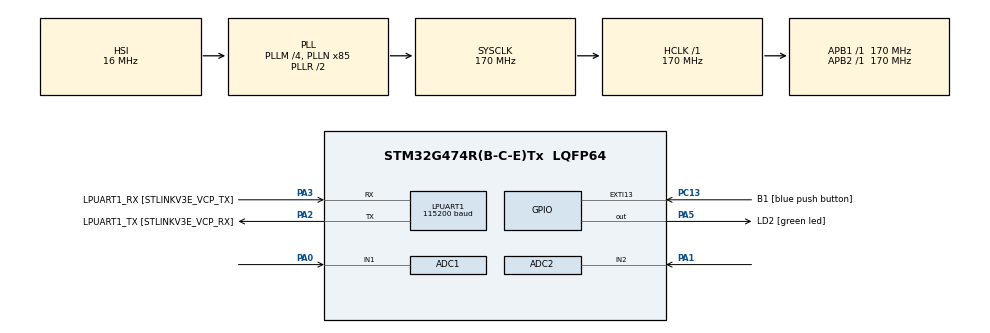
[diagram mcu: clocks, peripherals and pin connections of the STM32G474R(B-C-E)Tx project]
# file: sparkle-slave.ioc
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ADC1.Channel-0\#ChannelRegularConversion=ADC_CHANNEL_1
ADC1.ContinuousConvMode=ENABLE
ADC1.DMAContinuousRequests=ENABLE
ADC1.NbrOfConversion=1
ADC1.NbrOfConversionFlag=1
ADC1.OffsetNumber-0\#ChannelRegularConversion=ADC_OFFSET_NONE
ADC1.Rank-0\#ChannelRegularConversion=1
ADC1.SamplingTime-0\#ChannelRegularConversion=ADC_SAMPLETIME_2CYCLES_5
ADC1.master=1
ADC2.Channel-0\#ChannelRegularConversion=ADC_CHANNEL_2
ADC2.ContinuousConvMode=ENABLE
ADC2.DMAContinuousRequests=ENABLE
ADC2.NbrOfConversionFlag=1
ADC2.OffsetNumber-0\#ChannelRegularConversion=ADC_OFFSET_NONE
ADC2.Rank-0\#ChannelRegularConversion=1
ADC2.SamplingTime-0\#ChannelRegularConversion=ADC_SAMPLETIME_2CYCLES_5
Dma.ADC1.0.Direction=DMA_PERIPH_TO_MEMORY
Dma.ADC1.0.EventEnable=DISABLE
Dma.ADC1.0.Instance=DMA1_Channel1
Dma.ADC1.0.MemDataAlignment=DMA_MDATAALIGN_HALFWORD
Dma.ADC1.0.MemInc=DMA_MINC_ENABLE
Dma.ADC1.0.Mode=DMA_CIRCULAR
Dma.ADC1.0.PeriphDataAlignment=DMA_PDATAALIGN_HALFWORD
Dma.ADC1.0.PeriphInc=DMA_PINC_DISABLE
Dma.ADC1.0.Polarity=HAL_DMAMUX_REQ_GEN_RISING
Dma.ADC1.0.Priority=DMA_PRIORITY_LOW
Dma.ADC1.0.RequestNumber=1
Dma.ADC1.0.SignalID=NONE
Dma.ADC1.0.SyncEnable=DISABLE
Dma.ADC1.0.SyncPolarity=HAL_DMAMUX_SYNC_NO_EVENT
Dma.ADC1.0.SyncRequestNumber=1
Dma.ADC1.0.SyncSignalID=NONE
Dma.ADC2.1.Direction=DMA_PERIPH_TO_MEMORY
Dma.ADC2.1.EventEnable=DISABLE
Dma.ADC2.1.Instance=DMA1_Channel2
Dma.ADC2.1.MemDataAlignment=DMA_MDATAALIGN_HALFWORD
Dma.ADC2.1.MemInc=DMA_MINC_ENABLE
Dma.ADC2.1.Mode=DMA_CIRCULAR
Dma.ADC2.1.PeriphDataAlignment=DMA_PDATAALIGN_HALFWORD
Dma.ADC2.1.PeriphInc=DMA_PINC_DISABLE
Dma.ADC2.1.Polarity=HAL_DMAMUX_REQ_GEN_RISING
Dma.ADC2.1.Priority=DMA_PRIORITY_LOW
Dma.ADC2.1.RequestNumber=1
Dma.ADC2.1.SignalID=NONE
Dma.ADC2.1.SyncEnable=DISABLE
Dma.ADC2.1.SyncPolarity=HAL_DMAMUX_SYNC_NO_EVENT
Dma.ADC2.1.SyncRequestNumber=1
Dma.ADC2.1.SyncSignalID=NONE
Dma.Request0=ADC1
Dma.Request1=ADC2
LPUART1.BaudRate=115200
LPUART1.WordLength=UART_WORDLENGTH_8B
Mcu.Family=STM32G4
Mcu.Name=STM32G474R(B-C-E)Tx
Mcu.Package=LQFP64
NVIC.DMA1_Channel1_IRQn=true\:0\:0\:false\:false\:true\:false\:true\:true
NVIC.DMA1_Channel2_IRQn=true\:0\:0\:false\:false\:true\:false\:true\:true
NVIC.EXTI15_10_IRQn=true\:0\:0\:false\:false\:true\:true\:true\:true
NVIC.PriorityGroup=NVIC_PRIORITYGROUP_4
PA0.Mode=IN1-Single-Ended
PA0.Signal=ADC1_IN1
PA1.Mode=IN2-Single-Ended
PA1.Signal=ADC2_IN2
PA13.GPIO_Label=T_SWDIO
PA13.Mode=Serial_Wire
PA13.Signal=SYS_JTMS-SWDIO
PA14.GPIO_Label=T_SWCLK
PA14.Mode=Serial_Wire
PA14.Signal=SYS_JTCK-SWCLK
PA2.GPIO_Label=LPUART1_TX [STLINKV3E_VCP_RX]
PA2.Mode=Asynchronous
PA2.Signal=LPUART1_TX
PA3.GPIO_Label=LPUART1_RX [STLINKV3E_VCP_TX]
PA3.Mode=Asynchronous
PA3.Signal=LPUART1_RX
PA5.GPIO_Label=LD2 [green led]
PA5.Signal=GPIO_Output
PB3.GPIO_Label=T_SWO
PB3.Signal=SYS_JTDO-SWO
PC13.GPIO_Label=B1 [blue push button]
PC13.Signal=GPXTI13
PC14-OSC32_IN.Mode=LSE-External-Oscillator
PC14-OSC32_IN.Signal=RCC_OSC32_IN
PC15-OSC32_OUT.Mode=LSE-External-Oscillator
PC15-OSC32_OUT.Signal=RCC_OSC32_OUT
PF0-OSC_IN.Mode=HSE-External-Oscillator
PF0-OSC_IN.Signal=RCC_OSC_IN
PF1-OSC_OUT.Mode=HSE-External-Oscillator
PF1-OSC_OUT.Signal=RCC_OSC_OUT
ProjectManager.HeapSize=0x200
ProjectManager.StackSize=0x400
ProjectManager.TargetToolchain=Makefile
RCC.ADC12Freq_Value=170000000
RCC.ADC345Freq_Value=170000000
RCC.AHBFreq_Value=170000000
RCC.APB1Freq_Value=170000000
RCC.APB1TimFreq_Value=170000000
RCC.APB2Freq_Value=170000000
RCC.APB2TimFreq_Value=170000000
RCC.CortexFreq_Value=170000000
RCC.EXTERNAL_CLOCK_VALUE=12288000
RCC.HCLKFreq_Value=170000000
RCC.HSE_VALUE=24000000
RCC.HSI48_VALUE=48000000
RCC.HSI_VALUE=16000000
RCC.PLLM=RCC_PLLM_DIV4
RCC.PLLN=85
RCC.RTCClockSelection=RCC_RTCCLKSOURCE_LSE
RCC.SYSCLKFreq_VALUE=170000000
RCC.SYSCLKSource=RCC_SYSCLKSOURCE_PLLCLK
RCC.USBFreq_Value=170000000
RCC.VCOOutputFreq_Value=340000000
VP_SYS_VS_DBSignals.Mode=DisableDeadBatterySignals
board=NUCLEO-G474RE

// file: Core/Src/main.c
/* USER CODE BEGIN Header */
/**
 ******************************************************************************
 * @file           : main.c
 * @brief          : Main program body
 ******************************************************************************
 * @attention
 *
 * Copyright (c) 2024 STMicroelectronics.
 * All rights reserved.
 *
 * This software is licensed under terms that can be found in the LICENSE file
 * in the root directory of this software component.
 * If no LICENSE file comes with this software, it is provided AS-IS.
 *
 ******************************************************************************
 */
/* USER CODE END Header */
#include "main.h"
#include "adc.h"
#include "dma.h"
#include "gpio.h"
#include "usart.h"

/* USER CODE BEGIN Includes */
#include <stdio.h>
#include <string.h>

#include "config.h"
#include "plotter.h"
#include "stdbool.h"
/* USER CODE END Includes */

void SystemClock_Config(void);
/* USER CODE BEGIN PFP */

bool adc1_complete = false;
bool adc2_complete = false;
void HAL_ADC_ConvCpltCallback(ADC_HandleTypeDef *hadc) {
    if (hadc == &hadc1) {
        adc1_complete = true;
    } else if (hadc == &hadc2) {
        adc2_complete = true;
    }
}
/* USER CODE END PFP */

int main(void) {

    /* MCU
     * Configuration--------------------------------------------------------*/

    /* Reset of all peripherals, Initializes the Flash interface and the
     * Systick. */
    HAL_Init();

    /* Configure the system clock */
    SystemClock_Config();

    /* USER CODE BEGIN SysInit */
    CoreDebug->DEMCR |= CoreDebug_DEMCR_TRCENA_Msk;
    DWT->CYCCNT = 0;
    DWT->CTRL |= DWT_CTRL_CYCCNTENA_Msk;
    /* USER CODE END SysInit */

    /* Initialize all configured peripherals */
    MX_GPIO_Init();
    MX_DMA_Init();
    MX_ADC1_Init();
    MX_LPUART1_UART_Init();
    MX_ADC2_Init();
    /* USER CODE BEGIN 2 */
    size_t points_index = 0;
    data_point_t adc1_points[POINTS_N];
    data_point_t adc2_points[POINTS_N];

#if POLLING_MODE
    uint32_t start_time = plotter_get_time_us();
    uint32_t current_time = start_time;

    while (current_time < start_time + RUN_TIME_MS * 1000) {
        current_time = plotter_get_time_us();

        HAL_ADC_Start(&hadc1);
        HAL_ADC_PollForConversion(&hadc1, 100);
        uint32_t adc1_raw_value = HAL_ADC_GetValue(&hadc1);
        HAL_ADC_Stop(&hadc1);

        HAL_ADC_Start(&hadc2);
        HAL_ADC_PollForConversion(&hadc2, 100);
        uint32_t adc2_raw_value = HAL_ADC_GetValue(&hadc2);
        HAL_ADC_Stop(&hadc2);

        data_point_t adc1_point = {.time = current_time,
                                   .value = adc1_raw_value};
        data_point_t adc2_point = {.time = current_time,
                                   .value = adc2_raw_value};
        if (points_index == POINTS_N) {
            break;
        }
        adc1_points[points_index] = adc1_point;
        adc2_points[points_index] = adc2_point;
        points_index++;
    }

    plotter_send_signal("ADC1", adc1_points, points_index);
    plotter_send_signal("ADC2", adc2_points, points_index);
#endif
#if DMA_MODE_ADC_MULTI_CHANNEL
    uint16_t raw_values[2];
    HAL_ADC_Start_DMA(&hadc1, (uint32_t *)raw_values, 2);
    uint32_t start_time = plotter_get_time_us();
    uint32_t current_time = start_time;

    while (current_time < start_time + RUN_TIME_MS * 1000) {
        current_time = plotter_get_time_us();

        if (points_index == POINTS_N) {
            break;
        }

        if (adc1_complete) {
            data_point_t adc1_point = {.time = current_time,
                                       .value = raw_values[0]};
            data_point_t adc2_point = {.time = current_time,
                                       .value = raw_values[1]};
            adc1_points[points_index] = adc1_point;
            adc2_points[points_index] = adc2_point;
            points_index++;
            HAL_ADC_Start_DMA(&hadc1, (uint32_t *)raw_values, 2);
            adc1_complete = false;
        }
    }

    plotter_send_signal("ADC1", adc1_points, points_index);
    plotter_send_signal("ADC2", adc2_points, points_index);
#endif
#if DMA_MODE_DMA_MULTI_CHANNEL
    data_point_t adc1_point;
    data_point_t adc2_point;
    size_t adc1_points_index = 0, adc2_points_index = 0;
    HAL_ADC_Start_DMA(&hadc1, (uint32_t *)&adc1_point.value, 1);
    HAL_ADC_Start_DMA(&hadc2, (uint32_t *)&adc2_point.value, 1);

    uint32_t start_time = plotter_get_time_us();
    uint32_t current_time = start_time;

    while (current_time < start_time + RUN_TIME_MS * 1000) {
        current_time = plotter_get_time_us();

        if (adc1_points_index == POINTS_N || adc2_points_index == POINTS_N) {
            break;
        }

        if (adc1_complete) {
            adc1_point.time = current_time;
            adc1_points[adc1_points_index] = adc1_point;
            adc1_points_index++;
            // HAL_ADC_Start_DMA(&hadc1, (uint32_t *)&adc1_point.value, 1);
            adc1_complete = false;
        }
        if (adc2_complete) {
            adc2_point.time = current_time;
            adc2_points[adc2_points_index] = adc2_point;
            adc2_points_index++;
            // HAL_ADC_Start_DMA(&hadc2, (uint32_t *)&adc2_point.value, 1);
            adc2_complete = false;
        }
    }

    plotter_send_signal("ADC1", adc1_points, adc1_points_index);
    plotter_send_signal("ADC2", adc2_points, adc2_points_index);
#endif
#if DMA_MODE_DONE_THE_PROPER_WAY
    uint16_t adc1_raw[POINTS_N];
    uint16_t adc2_raw[POINTS_N];

    HAL_ADC_Start_DMA(&hadc1, (uint32_t *)adc1_raw, POINTS_N);
    HAL_ADC_Start_DMA(&hadc2, (uint32_t *)adc2_raw, POINTS_N);

    uint32_t start_time = plotter_get_time_us();

    while (!adc1_complete || !adc2_complete)
        ;

    uint32_t end_time = plotter_get_time_us();

    HAL_ADC_Stop_DMA(&hadc1);
    HAL_ADC_Stop_DMA(&hadc2);

    for (size_t i = 0; i < POINTS_N; i++) {
        adc1_points[i].time = ~0;
        adc2_points[i].time = ~0;
        adc1_points[i].value = adc1_raw[i];
        adc2_points[i].value = adc2_raw[i];
    }

    adc1_points[0].time = start_time;
    adc1_points[POINTS_N - 1].time = end_time;
    adc2_points[0].time = start_time;
    adc2_points[POINTS_N - 1].time = end_time;

    plotter_send_signal("ADC1", adc1_points, POINTS_N);
    plotter_send_signal("ADC2", adc2_points, POINTS_N);
#endif

    /* USER CODE END 2 */

    /* Infinite loop */
    while (1) {
    }

}

void SystemClock_Config(void) {
    RCC_OscInitTypeDef RCC_OscInitStruct = {0};
    RCC_ClkInitTypeDef RCC_ClkInitStruct = {0};

    /** Configure the main internal regulator output voltage
     */
    HAL_PWREx_ControlVoltageScaling(PWR_REGULATOR_VOLTAGE_SCALE1_BOOST);

    /** Initializes the RCC Oscillators according to the specified parameters
     * in the RCC_OscInitTypeDef structure.
     */
    RCC_OscInitStruct.OscillatorType = RCC_OSCILLATORTYPE_HSI;
    RCC_OscInitStruct.HSIState = RCC_HSI_ON;
    RCC_OscInitStruct.HSICalibrationValue = RCC_HSICALIBRATION_DEFAULT;
    RCC_OscInitStruct.PLL.PLLState = RCC_PLL_ON;
    RCC_OscInitStruct.PLL.PLLSource = RCC_PLLSOURCE_HSI;
    RCC_OscInitStruct.PLL.PLLM = RCC_PLLM_DIV4;
    RCC_OscInitStruct.PLL.PLLN = 85;
    RCC_OscInitStruct.PLL.PLLP = RCC_PLLP_DIV2;
    RCC_OscInitStruct.PLL.PLLQ = RCC_PLLQ_DIV2;
    RCC_OscInitStruct.PLL.PLLR = RCC_PLLR_DIV2;
    if (HAL_RCC_OscConfig(&RCC_OscInitStruct) != HAL_OK) {
        Error_Handler();
    }

    /** Initializes the CPU, AHB and APB buses clocks
     */
    RCC_ClkInitStruct.ClockType = RCC_CLOCKTYPE_HCLK | RCC_CLOCKTYPE_SYSCLK |
                                  RCC_CLOCKTYPE_PCLK1 | RCC_CLOCKTYPE_PCLK2;
    RCC_ClkInitStruct.SYSCLKSource = RCC_SYSCLKSOURCE_PLLCLK;
    RCC_ClkInitStruct.AHBCLKDivider = RCC_SYSCLK_DIV1;
    RCC_ClkInitStruct.APB1CLKDivider = RCC_HCLK_DIV1;
    RCC_ClkInitStruct.APB2CLKDivider = RCC_HCLK_DIV1;

    if (HAL_RCC_ClockConfig(&RCC_ClkInitStruct, FLASH_LATENCY_4) != HAL_OK) {
        Error_Handler();
    }
}

void Error_Handler(void) {
    /* USER CODE BEGIN Error_Handler_Debug */
    /* User can add his own implementation to report the HAL error return
     * state
     */
    __disable_irq();
    while (1) {
    }
    /* USER CODE END Error_Handler_Debug */
}

#ifdef USE_FULL_ASSERT
/**
 * @brief  Reports the name of the source file and the source line number
 *         where the assert_param error has occurred.
 * @param  file: pointer to the source file name
 * @param  line: assert_param error line source number
 * @retval None
 */
void assert_failed(uint8_t *file, uint32_t line) {
    /* USER CODE BEGIN 6 */
    /* User can add his own implementation to report the file name and line
       number, ex: printf("Wrong parameters value: file %s on line %d\r\n",
       file, line) */
    /* USER CODE END 6 */
}
#endif /* USE_FULL_ASSERT */
